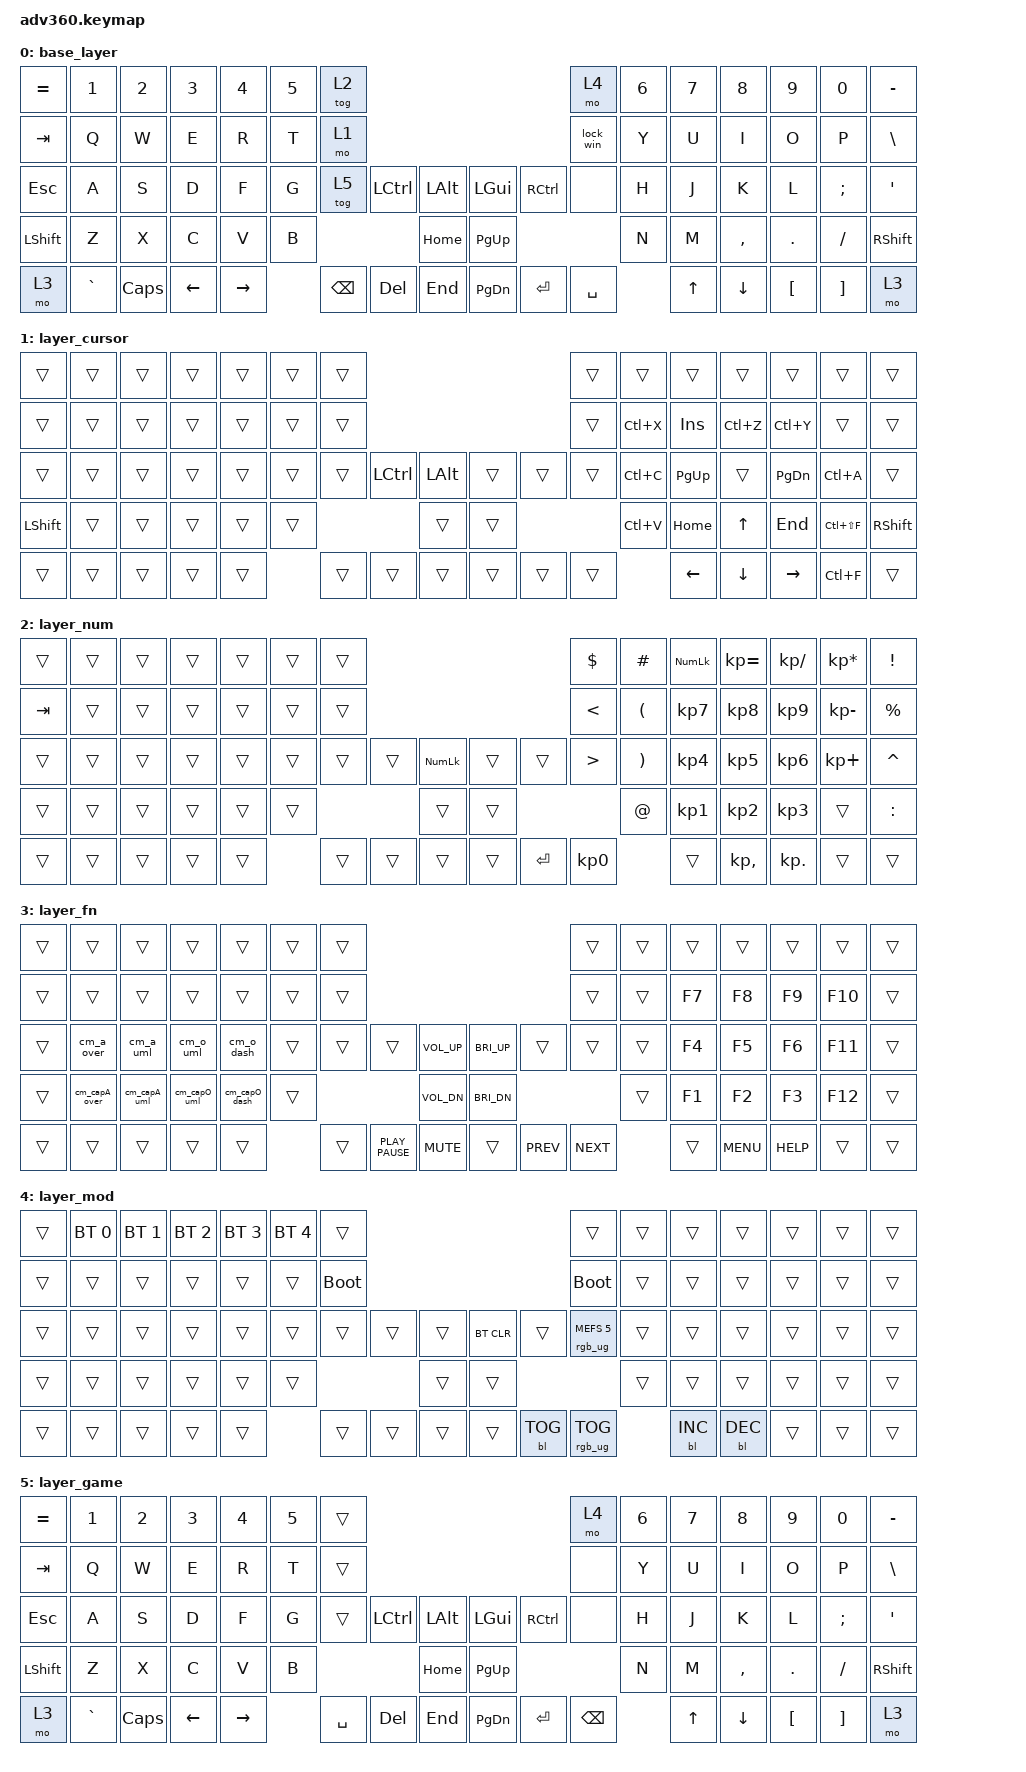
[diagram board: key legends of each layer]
/*
 * Copyright (c) 2020 The ZMK Contributors
 *
 * SPDX-License-Identifier: MIT
 */
/* THIS FILE WAS GENERATED!
 *
 * This file was generated automatically. You may or may not want to
 * edit it directly.
 */

#include <behaviors.dtsi>
#include <dt-bindings/zmk/backlight.h>
#include <dt-bindings/zmk/bt.h>
#include <dt-bindings/zmk/keys.h>
#include <dt-bindings/zmk/rgb.h>

/ {
    behaviors {
        #include "macros.dtsi"
    #include "version.dtsi"

        hm: homerow_mods {
            compatible = "zmk,behavior-hold-tap";
            label = "HOMEROW_MODS";
            #binding-cells = <2>;
            tapping-term-ms = <200>;
            quick_tap_ms = <175>;
            flavor = "tap-preferred";
            bindings = <&kp>, <&kp>;
        };
    };

    combos { compatible = "zmk,combos"; };

    macros {
        cm_a_over: lao {
            compatible = "zmk,behavior-macro";
            #binding-cells = <0>;
            bindings = <&kt LEFT_ALT &kp NUMBER_1 &kp NUMBER_3 &kp NUMBER_4 &kt LEFT_ALT>;
            label = "lAO";
        };

        cm_a_uml: lau {
            compatible = "zmk,behavior-macro";
            #binding-cells = <0>;
            bindings = <&kt LEFT_ALT &kp NUMBER_1 &kp NUMBER_3 &kp NUMBER_2 &kt LEFT_ALT>;
            label = "LAU";
        };

        cm_capA_over: CAO {
            compatible = "zmk,behavior-macro";
            #binding-cells = <0>;
            bindings = <&kt LEFT_ALT &kp NUMBER_1 &kp NUMBER_4 &kp NUMBER_3 &kt LEFT_ALT>;
            label = "CAO";
        };

        cm_capA_uml: CAU {
            compatible = "zmk,behavior-macro";
            #binding-cells = <0>;
            bindings = <&kt LEFT_ALT &kp NUMBER_1 &kp NUMBER_4 &kp NUMBER_2 &kt LEFT_ALT>;
            label = "CAU";
        };

        cm_o_uml: lou {
            compatible = "zmk,behavior-macro";
            #binding-cells = <0>;
            bindings = <&kt LEFT_ALT &kp NUMBER_1 &kp NUMBER_4 &kp NUMBER_8 &kt LEFT_ALT>;
            label = "LOU";
        };

        cm_capO_uml: COU {
            compatible = "zmk,behavior-macro";
            #binding-cells = <0>;
            bindings = <&kt LEFT_ALT &kp NUMBER_1 &kp NUMBER_5 &kp NUMBER_3 &kt LEFT_ALT>;
            label = "COU";
        };

        cm_o_dash: lod {
            compatible = "zmk,behavior-macro";
            #binding-cells = <0>;
            bindings = <&kt LEFT_ALT &kp NUMBER_0 &kp NUMBER_2 &kp NUMBER_4 &kp NUMBER_8 &kt LEFT_ALT>;
            label = "LOD";
        };

        cm_capO_dash: COD {
            compatible = "zmk,behavior-macro";
            #binding-cells = <0>;
            bindings = <&kt LEFT_ALT &kp NUMBER_0 &kp NUMBER_2 &kp NUMBER_1 &kp NUMBER_6 &kt LEFT_ALT>;
            label = "COD";
        };

        lock_win: lock_win {
            compatible = "zmk,behavior-macro";
            #binding-cells = <0>;
            bindings = <&kp LEFT_WIN &kp L>;
            label = "LOCK_WIN";
        };
    };

    keymap {
        compatible = "zmk,keymap";

        base_layer {
            bindings = <
&kp EQUAL  &kp N1     &kp N2    &kp N3    &kp N4     &kp N5  &tog 2                                                   &mo 4      &kp N6  &kp N7  &kp N8     &kp N9    &kp N0    &kp MINUS
&kp TAB    &kp Q      &kp W     &kp E     &kp R      &kp T   &mo 1                                                    &lock_win  &kp Y   &kp U   &kp I      &kp O     &kp P     &kp BSLH
&kp ESC    &kp A      &kp S     &kp D     &kp F      &kp G   &tog 5    &kp LCTRL  &kp LALT      &kp LGUI   &kp RCTRL  &none      &kp H   &kp J   &kp K      &kp L     &kp SEMI  &kp SQT
&kp LSHFT  &kp Z      &kp X     &kp C     &kp V      &kp B                        &kp HOME      &kp PG_UP                        &kp N   &kp M   &kp COMMA  &kp DOT   &kp FSLH  &kp RSHFT
&mo 3      &kp GRAVE  &kp CAPS  &kp LEFT  &kp RIGHT          &kp BSPC  &kp DEL    &kp END       &kp PG_DN  &kp ENTER  &kp SPACE          &kp UP  &kp DOWN   &kp LBKT  &kp RBKT  &mo 3
            >;
        };

        layer_cursor {
            bindings = <
&trans          &trans  &trans  &trans  &trans  &trans  &trans                                                      &trans  &trans     &trans          &trans          &trans           &trans         &trans
&trans          &trans  &trans  &trans  &trans  &trans  &trans                                                      &trans  &kp LC(X)  &kp INSERT      &kp LC(Z)       &kp LC(Y)        &trans         &trans
&trans          &trans  &trans  &trans  &trans  &trans  &trans  &kp LEFT_CONTROL  &kp LEFT_ALT      &trans  &trans  &trans  &kp LC(C)  &kp PAGE_UP     &trans          &kp PAGE_DOWN    &kp LC(A)      &trans
&kp LEFT_SHIFT  &trans  &trans  &trans  &trans  &trans                            &trans            &trans                  &kp LC(V)  &kp HOME        &kp UP_ARROW    &kp END          &kp LC(LS(F))  &kp RIGHT_SHIFT
&trans          &trans  &trans  &trans  &trans          &trans  &trans            &trans            &trans  &trans  &trans             &kp LEFT_ARROW  &kp DOWN_ARROW  &kp RIGHT_ARROW  &kp LC(F)      &trans
            >;
        };

        layer_num {
            bindings = <
&trans   &trans  &trans  &trans  &trans  &trans  &trans                                                 &kp DOLLAR        &kp POUND              &kp KP_NUMLOCK   &kp KP_EQUAL     &kp KP_DIVIDE    &kp KP_MULTIPLY  &kp EXCL
&kp TAB  &trans  &trans  &trans  &trans  &trans  &trans                                                 &kp LESS_THAN     &kp LEFT_PARENTHESIS   &kp KP_NUMBER_7  &kp KP_NUMBER_8  &kp KP_NUMBER_9  &kp KP_SUBTRACT  &kp PERCENT
&trans   &trans  &trans  &trans  &trans  &trans  &trans  &trans  &kp KP_NUMLOCK      &trans  &trans     &kp GREATER_THAN  &kp RIGHT_PARENTHESIS  &kp KP_NUMBER_4  &kp KP_NUMBER_5  &kp KP_NUMBER_6  &kp KP_PLUS      &kp CARET
&trans   &trans  &trans  &trans  &trans  &trans                  &trans              &trans                               &kp AT_SIGN            &kp KP_NUMBER_1  &kp KP_NUMBER_2  &kp KP_NUMBER_3  &trans           &kp COLON
&trans   &trans  &trans  &trans  &trans          &trans  &trans  &trans              &trans  &kp ENTER  &kp KP_NUMBER_0                          &trans           &kp KP_COMMA     &kp KP_DOT       &trans           &trans
            >;
        };

        layer_fn {
            bindings = <
&trans  &trans         &trans        &trans        &trans         &trans  &trans                                                                &trans      &trans  &trans  &trans      &trans      &trans   &trans
&trans  &trans         &trans        &trans        &trans         &trans  &trans                                                                &trans      &trans  &kp F7  &kp F8      &kp F9      &kp F10  &trans
&trans  &cm_a_over     &cm_a_uml     &cm_o_uml     &cm_o_dash     &trans  &trans  &trans            &kp C_VOL_UP      &kp C_BRI_UP  &trans      &trans      &trans  &kp F4  &kp F5      &kp F6      &kp F11  &trans
&trans  &cm_capA_over  &cm_capA_uml  &cm_capO_uml  &cm_capO_dash  &trans                            &kp C_VOL_DN      &kp C_BRI_DN                          &trans  &kp F1  &kp F2      &kp F3      &kp F12  &trans
&trans  &trans         &trans        &trans        &trans                 &trans  &kp K_PLAY_PAUSE  &kp C_MUTE        &trans        &kp C_PREV  &kp C_NEXT          &trans  &kp C_MENU  &kp C_HELP  &trans   &trans
            >;
        };

        layer_mod {
            bindings = <
&trans  &bt BT_SEL 0  &bt BT_SEL 1  &bt BT_SEL 2  &bt BT_SEL 3  &bt BT_SEL 4  &trans                                                   &trans                  &trans  &trans      &trans      &trans  &trans  &trans
&trans  &trans        &trans        &trans        &trans        &trans        &bootloader                                              &bootloader             &trans  &trans      &trans      &trans  &trans  &trans
&trans  &trans        &trans        &trans        &trans        &trans        &trans       &trans  &trans      &bt BT_CLR  &trans      &rgb_ug RGB_MEFS_CMD 5  &trans  &trans      &trans      &trans  &trans  &trans
&trans  &trans        &trans        &trans        &trans        &trans                             &trans      &trans                                          &trans  &trans      &trans      &trans  &trans  &trans
&trans  &trans        &trans        &trans        &trans                      &trans       &trans  &trans      &trans      &bl BL_TOG  &rgb_ug RGB_TOG                 &bl BL_INC  &bl BL_DEC  &trans  &trans  &trans
            >;
        };

        layer_game {
            bindings = <
&kp EQUAL  &kp N1     &kp N2    &kp N3    &kp N4     &kp N5  &trans                                                    &mo 4          &kp N6  &kp N7  &kp N8     &kp N9    &kp N0    &kp MINUS
&kp TAB    &kp Q      &kp W     &kp E     &kp R      &kp T   &trans                                                    &none          &kp Y   &kp U   &kp I      &kp O     &kp P     &kp BSLH
&kp ESC    &kp A      &kp S     &kp D     &kp F      &kp G   &trans     &kp LCTRL  &kp LALT      &kp LGUI   &kp RCTRL  &none          &kp H   &kp J   &kp K      &kp L     &kp SEMI  &kp SQT
&kp LSHFT  &kp Z      &kp X     &kp C     &kp V      &kp B                         &kp HOME      &kp PG_UP                            &kp N   &kp M   &kp COMMA  &kp DOT   &kp FSLH  &kp RSHFT
&mo 3      &kp GRAVE  &kp CAPS  &kp LEFT  &kp RIGHT          &kp SPACE  &kp DEL    &kp END       &kp PG_DN  &kp ENTER  &kp BACKSPACE          &kp UP  &kp DOWN   &kp LBKT  &kp RBKT  &mo 3
            >;
        };
    };
};
